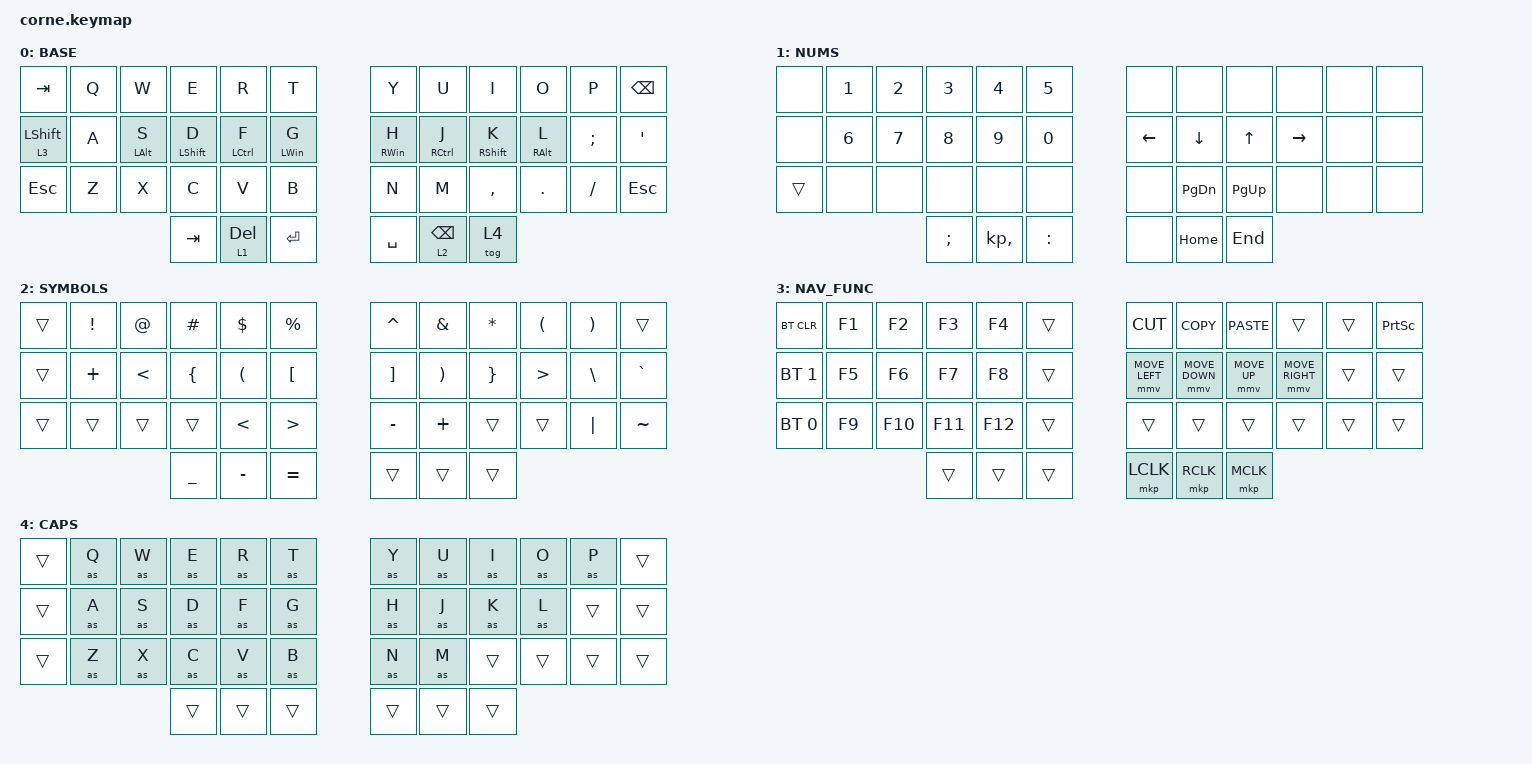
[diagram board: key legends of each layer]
/*
 * Copyright (c) 2020 The ZMK Contributors
 *
 * SPDX-License-Identifier: MIT
 */

#include <behaviors.dtsi>
#include <dt-bindings/zmk/bt.h>
#include <dt-bindings/zmk/keys.h>
#include <dt-bindings/zmk/pointing.h>

/ {
    combos {
        compatible = "zmk,combos";

        caps_word {
            bindings = <&caps_word>;
            key-positions = <17 18>;
        };
    };

    macros {
        shift: shift {
            compatible = "zmk,behavior-macro-one-param";
            #binding-cells = <1>;
            bindings =
                <&macro_press>,
                <&kp LEFT_SHIFT>,
                <&macro_tap>,
                <&macro_param_1to1 &kp MACRO_PLACEHOLDER>,
                <&macro_release>,
                <&kp LEFT_SHIFT>;

            label = "SHIFT";
        };

        as: as {
            compatible = "zmk,behavior-macro-one-param";
            #binding-cells = <1>;
            bindings =
                <&macro_press>,
                <&macro_param_1to1 &macro_param_1to2 &as_ht MACRO_PLACEHOLDER MACRO_PLACEHOLDER>,
                <&macro_pause_for_release>,
                <&macro_release>,
                <&macro_param_1to1 &macro_param_1to2 &as_ht MACRO_PLACEHOLDER MACRO_PLACEHOLDER>;

            label = "AS";
        };
    };

    behaviors {
        as_ht: autoshift_hold_tap {
            compatible = "zmk,behavior-hold-tap";
            label = "AS_HTAUTOSHIFT_HOLD_TAP";
            bindings = <&shift>, <&kp>;

            #binding-cells = <2>;
            tapping-term-ms = <190>;
        };

        hml: homewrow_mods_left {
            compatible = "zmk,behavior-hold-tap";
            label = "HOMEROW_MODS_LEFT_HAND";
            bindings = <&kp>, <&kp>;

            #binding-cells = <2>;
            tapping-term-ms = <280>;
            hold-trigger-key-positions = <6 7 8 9 10 11 18 19 20 21 22 23 30 31 32 33 34 35 39 40 41>;
            flavor = "balanced";
            hold-trigger-on-release;
            quick-tap-ms = <175>;
            require-prior-idle-ms = <150>;
        };

        hmr: homewrow_mods_right {
            compatible = "zmk,behavior-hold-tap";
            label = "HOMEROW_MODS_RIGHT_HAND";
            bindings = <&kp>, <&kp>;

            #binding-cells = <2>;
            tapping-term-ms = <280>;
            hold-trigger-key-positions = <0 1 2 3 4 5 12 13 14 15 16 17 24 25 26 27 28 29 36 37 38>;
            flavor = "balanced";
            hold-trigger-on-release;
            require-prior-idle-ms = <150>;
            quick-tap-ms = <175>;
        };
    };

    keymap {
        compatible = "zmk,keymap";

        BASE {
            bindings = <
&kp TAB           &kp Q  &kp W            &kp E              &kp R         &kp T              &kp Y             &kp U            &kp I               &kp O             &kp P          &kp BSPC
&lt 3 LEFT_SHIFT  &kp A  &hml LEFT_ALT S  &hml LEFT_SHIFT D  &hml LCTRL F  &hml LEFT_WIN G    &hmr RIGHT_WIN H  &hmr RCTRL J     &hmr RIGHT_SHIFT K  &hmr RIGHT_ALT L  &kp SEMICOLON  &kp SQT
&kp ESCAPE        &kp Z  &kp X            &kp C              &kp V         &kp B              &kp N             &kp M            &kp COMMA           &kp DOT           &kp FSLH       &kp ESC
                                          &kp TAB            &lt 1 DELETE  &kp ENTER          &kp SPACE         &lt 2 BACKSPACE  &tog 4
            >;

            label = "BASE";
        };

        NUMS {
            bindings = <
&none   &kp N1  &kp N2  &kp N3    &kp N4        &kp N5       &none     &none          &none      &none      &none  &none
&none   &kp N6  &kp N7  &kp N8    &kp N9        &kp N0       &kp LEFT  &kp DOWN       &kp UP     &kp RIGHT  &none  &none
&trans  &none   &none   &none     &none         &none        &none     &kp PAGE_DOWN  &kp PG_UP  &none      &none  &none
                        &kp SEMI  &kp KP_COMMA  &kp COLON    &none     &kp HOME       &kp END
            >;

            label = "NUMS";
        };

        SYMBOLS {
            bindings = <
&trans  &kp EXCL  &kp AT         &kp HASH        &kp DLLR              &kp PRCNT           &kp CARET          &kp AMPS               &kp ASTRK        &kp LPAR          &kp RPAR  &trans
&trans  &kp PLUS  &kp LESS_THAN  &kp LEFT_BRACE  &kp LEFT_PARENTHESIS  &kp LEFT_BRACKET    &kp RIGHT_BRACKET  &kp RIGHT_PARENTHESIS  &kp RIGHT_BRACE  &kp GREATER_THAN  &kp BSLH  &kp GRAVE
&trans  &trans    &trans         &trans          &kp LESS_THAN         &kp GREATER_THAN    &kp MINUS          &kp PLUS               &trans           &trans            &kp PIPE  &kp TILDE
                                 &kp UNDERSCORE  &kp MINUS             &kp EQUAL           &trans             &trans                 &trans
            >;

            label = "SYMBOLS";
        };

        NAV_FUNC {
            bindings = <
&bt BT_CLR    &kp F1  &kp F2   &kp F3   &kp F4   &trans    &kp K_CUT       &kp K_COPY      &kp K_PASTE   &trans           &trans  &kp PRINTSCREEN
&bt BT_SEL 1  &kp F5  &kp F6   &kp F7   &kp F8   &trans    &mmv MOVE_LEFT  &mmv MOVE_DOWN  &mmv MOVE_UP  &mmv MOVE_RIGHT  &trans  &trans
&bt BT_SEL 0  &kp F9  &kp F10  &kp F11  &kp F12  &trans    &trans          &trans          &trans        &trans           &trans  &trans
                               &trans   &trans   &trans    &mkp LCLK       &mkp RCLK       &mkp MCLK
            >;

            label = "NAV_FUNC";
        };

        AUTOSHIFT {
            bindings = <
&trans  &as Q  &as W  &as E   &as R   &as T     &as Y   &as U   &as I   &as O   &as P   &trans
&trans  &as A  &as S  &as D   &as F   &as G     &as H   &as J   &as K   &as L   &trans  &trans
&trans  &as Z  &as X  &as C   &as V   &as B     &as N   &as M   &trans  &trans  &trans  &trans
                      &trans  &trans  &trans    &trans  &trans  &trans
            >;

            label = "CAPS";
        };
    };
};

// this fixes the nice_view displays

&nice_view_spi { cs-gpios = <&pro_micro 0 GPIO_ACTIVE_HIGH>; };
